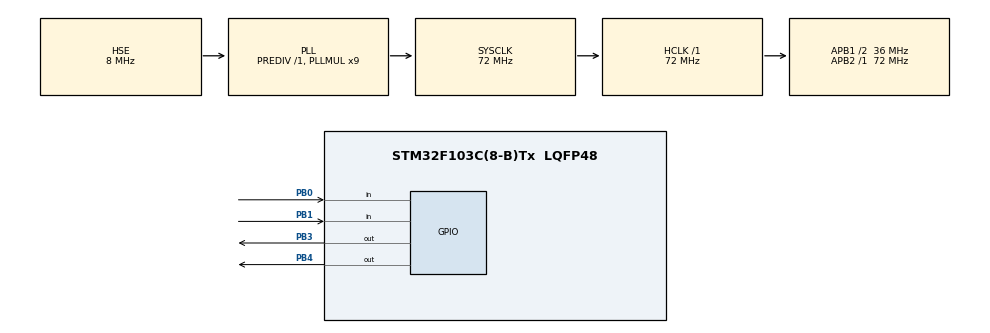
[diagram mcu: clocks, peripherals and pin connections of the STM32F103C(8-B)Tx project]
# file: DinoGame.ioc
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Mcu.Family=STM32F1
Mcu.Name=STM32F103C(8-B)Tx
Mcu.Package=LQFP48
NVIC.PriorityGroup=NVIC_PRIORITYGROUP_4
PA13.Mode=Serial_Wire
PA13.Signal=SYS_JTMS-SWDIO
PA14.Mode=Serial_Wire
PA14.Signal=SYS_JTCK-SWCLK
PB0.GPIO_PuPd=GPIO_PULLUP
PB0.Signal=GPIO_Input
PB1.GPIO_PuPd=GPIO_PULLUP
PB1.Signal=GPIO_Input
PB3.GPIO_PuPd=GPIO_PULLUP
PB3.GPIO_Speed=GPIO_SPEED_FREQ_HIGH
PB3.Signal=GPIO_Output
PB4.GPIO_PuPd=GPIO_PULLUP
PB4.GPIO_Speed=GPIO_SPEED_FREQ_HIGH
PB4.Signal=GPIO_Output
PD0-OSC_IN.Mode=HSE-External-Oscillator
PD0-OSC_IN.Signal=RCC_OSC_IN
PD1-OSC_OUT.Mode=HSE-External-Oscillator
PD1-OSC_OUT.Signal=RCC_OSC_OUT
ProjectManager.HeapSize=0x200
ProjectManager.StackSize=0x400
ProjectManager.TargetToolchain=STM32CubeIDE
RCC.AHBFreq_Value=72000000
RCC.APB1CLKDivider=RCC_HCLK_DIV2
RCC.APB1Freq_Value=36000000
RCC.APB1TimFreq_Value=72000000
RCC.APB2Freq_Value=72000000
RCC.APB2TimFreq_Value=72000000
RCC.HCLKFreq_Value=72000000
RCC.PLLMUL=RCC_PLL_MUL9
RCC.PLLSourceVirtual=RCC_PLLSOURCE_HSE
RCC.SYSCLKFreq_VALUE=72000000
RCC.SYSCLKSource=RCC_SYSCLKSOURCE_PLLCLK
RCC.USBFreq_Value=72000000
board=custom

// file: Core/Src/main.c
/* USER CODE BEGIN Header */
/**
  ******************************************************************************
  * @file           : main.c
  * @brief          : Main program body
  ******************************************************************************
  * @attention
  *
  * Copyright (c) 2022 STMicroelectronics.
  * All rights reserved.
  *
  * This software is licensed under terms that can be found in the LICENSE file
  * in the root directory of this software component.
  * If no LICENSE file comes with this software, it is provided AS-IS.
  *
  ******************************************************************************
  */
/* USER CODE END Header */
#include "main.h"

/* USER CODE BEGIN Includes */
#include "oled12864.h"
/* USER CODE END Includes */

void SystemClock_Config(void);
static void MX_GPIO_Init(void);

/* USER CODE BEGIN 0 */
int get_key_val()
{
	if(HAL_GPIO_ReadPin(GPIOB, GPIO_PIN_0)==0)
	{
		return 2;
	}
	if(HAL_GPIO_ReadPin(GPIOB, GPIO_PIN_1)==0)
	{
		return 1;
	}
	return 0;
}
/* USER CODE END 0 */

int main(void)
{
  /* USER CODE BEGIN 1 */
	unsigned char key_num = 0;
	unsigned char cactus_category = 0;
	unsigned char cactus_length = 8;
	unsigned int score = 0;
	unsigned int highest_score = 0;
	int height = 0;
	int cactus_pos = 128;
	unsigned char cur_speed = 30;
	char failed = 0;
	char reset = 0;
  /* USER CODE END 1 */

  /* MCU Configuration--------------------------------------------------------*/

  /* Reset of all peripherals, Initializes the Flash interface and the Systick. */
  HAL_Init();

  /* Configure the system clock */
  SystemClock_Config();

  /* Initialize all configured peripherals */
  MX_GPIO_Init();
  /* USER CODE BEGIN 2 */
  OLED_Init();
  OLED_ShowString(0,0,"Test",4);

	OLED_DrawCover();

	while(get_key_val()!=2);
	HAL_Delay(100);
	OLED_Clear();

  /* USER CODE END 2 */

  /* Infinite loop */
  while (1)
  {

		if (failed == 1)
		{
			OLED_DrawRestart();

			key_num = get_key_val();
			if (key_num == 2)
			{
				if(score > highest_score) highest_score = score;
				score = 0;
				failed = 0;
				height = 0;
				reset = 1;
				OLED_DrawDinoJump(reset);
				OLED_DrawCactusRandom(cactus_category, reset);
				OLED_Clear();
			}
			continue;
		}

		score ++;
		if (height <= 0) key_num = get_key_val();

		OLED_DrawGround();
		OLED_DrawCloud();

		if (height>0 || key_num == 1) height = OLED_DrawDinoJump(reset);
		else OLED_DrawDino();

		cactus_pos = OLED_DrawCactusRandom(cactus_category, reset);
		if(cactus_category == 0) cactus_length = 8;
		else if(cactus_category == 1) cactus_length = 16;
		else cactus_length = 24;

		if (cactus_pos + cactus_length < 0)
		{
		  cactus_category = rand()%4;
			OLED_DrawCactusRandom(cactus_category, 1);
		}

		if ((height < 16) && ( (cactus_pos>=16 && cactus_pos <=32) || (cactus_pos + cactus_length>=16 && cactus_pos + cactus_length <=32)))
		{
			failed = 1;
		}

		OLED_ShowString(35, 0, "HI:", 12);
		OLED_ShowNum(58, 0, highest_score, 5, 12);
		OLED_ShowNum(98, 0, score, 5, 12);

		reset = 0;

		cur_speed = score/20;
		if (cur_speed > 29) cur_speed = 29;
		HAL_Delay(30 - cur_speed);
//		HAL_Delay(500);
		key_num = 0;
  }
}

void SystemClock_Config(void)
{
  RCC_OscInitTypeDef RCC_OscInitStruct = {0};
  RCC_ClkInitTypeDef RCC_ClkInitStruct = {0};

  /** Initializes the RCC Oscillators according to the specified parameters
  * in the RCC_OscInitTypeDef structure.
  */
  RCC_OscInitStruct.OscillatorType = RCC_OSCILLATORTYPE_HSE;
  RCC_OscInitStruct.HSEState = RCC_HSE_ON;
  RCC_OscInitStruct.HSEPredivValue = RCC_HSE_PREDIV_DIV1;
  RCC_OscInitStruct.HSIState = RCC_HSI_ON;
  RCC_OscInitStruct.PLL.PLLState = RCC_PLL_ON;
  RCC_OscInitStruct.PLL.PLLSource = RCC_PLLSOURCE_HSE;
  RCC_OscInitStruct.PLL.PLLMUL = RCC_PLL_MUL9;
  if (HAL_RCC_OscConfig(&RCC_OscInitStruct) != HAL_OK)
  {
    Error_Handler();
  }

  /** Initializes the CPU, AHB and APB buses clocks
  */
  RCC_ClkInitStruct.ClockType = RCC_CLOCKTYPE_HCLK|RCC_CLOCKTYPE_SYSCLK
                              |RCC_CLOCKTYPE_PCLK1|RCC_CLOCKTYPE_PCLK2;
  RCC_ClkInitStruct.SYSCLKSource = RCC_SYSCLKSOURCE_PLLCLK;
  RCC_ClkInitStruct.AHBCLKDivider = RCC_SYSCLK_DIV1;
  RCC_ClkInitStruct.APB1CLKDivider = RCC_HCLK_DIV2;
  RCC_ClkInitStruct.APB2CLKDivider = RCC_HCLK_DIV1;

  if (HAL_RCC_ClockConfig(&RCC_ClkInitStruct, FLASH_LATENCY_2) != HAL_OK)
  {
    Error_Handler();
  }
}

static void MX_GPIO_Init(void)
{
  GPIO_InitTypeDef GPIO_InitStruct = {0};

  /* GPIO Ports Clock Enable */
  __HAL_RCC_GPIOD_CLK_ENABLE();
  __HAL_RCC_GPIOB_CLK_ENABLE();
  __HAL_RCC_GPIOA_CLK_ENABLE();

  /*Configure GPIO pin Output Level */
  HAL_GPIO_WritePin(GPIOB, GPIO_PIN_3|GPIO_PIN_4, GPIO_PIN_RESET);

  /*Configure GPIO pins : PB0 PB1 */
  GPIO_InitStruct.Pin = GPIO_PIN_0|GPIO_PIN_1;
  GPIO_InitStruct.Mode = GPIO_MODE_INPUT;
  GPIO_InitStruct.Pull = GPIO_PULLUP;
  HAL_GPIO_Init(GPIOB, &GPIO_InitStruct);

  /*Configure GPIO pins : PB3 PB4 */
  GPIO_InitStruct.Pin = GPIO_PIN_3|GPIO_PIN_4;
  GPIO_InitStruct.Mode = GPIO_MODE_OUTPUT_PP;
  GPIO_InitStruct.Pull = GPIO_PULLUP;
  GPIO_InitStruct.Speed = GPIO_SPEED_FREQ_HIGH;
  HAL_GPIO_Init(GPIOB, &GPIO_InitStruct);

}

void Error_Handler(void)
{
  __disable_irq();
  while (1)
  {
  }
}
